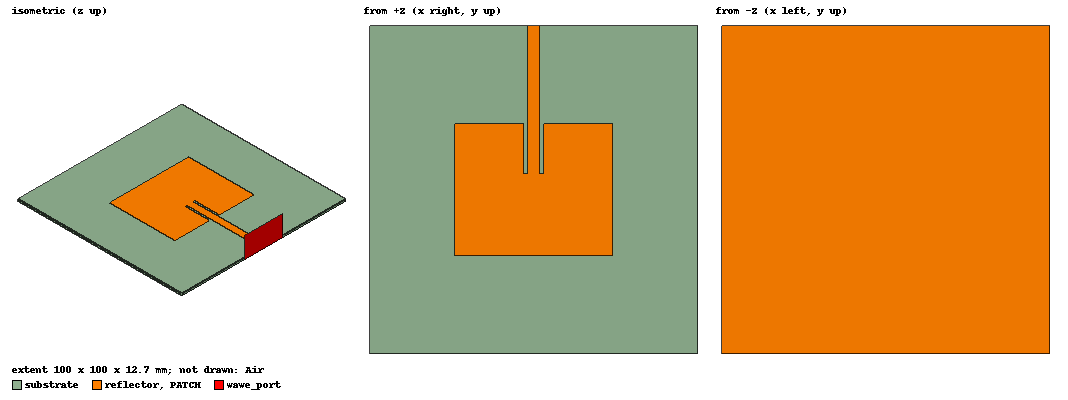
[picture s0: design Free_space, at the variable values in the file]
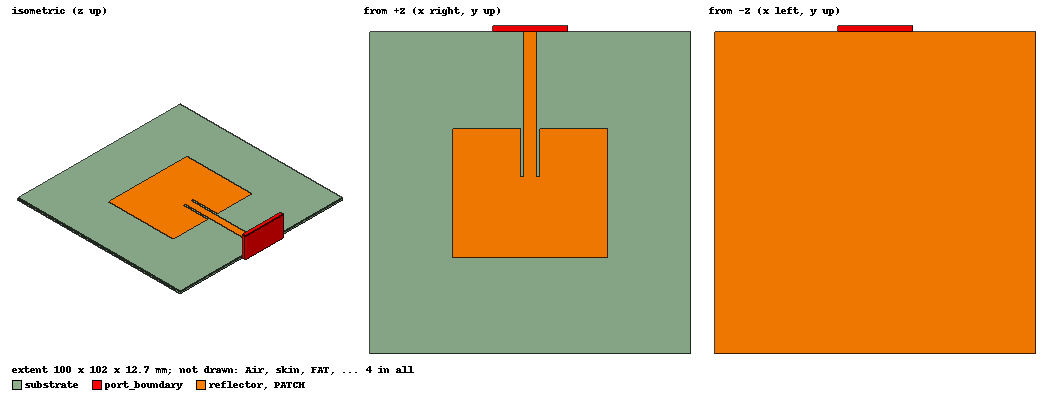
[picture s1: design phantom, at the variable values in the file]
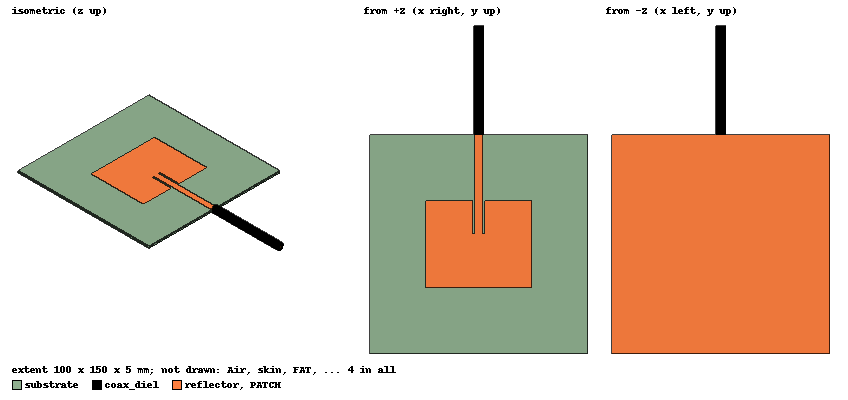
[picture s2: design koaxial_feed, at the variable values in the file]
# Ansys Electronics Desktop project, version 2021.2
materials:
  vacuum: permittivity=1
  Rogers RT/duroid 5880 (tm): permittivity=2.2 dielectric_loss_tangent=0.0009
  pec: conductivity=1e+30
  phantom_skin: permittivity=38 conductivity=1.46
  phantom_fat: permittivity=5.3 permeability=1 conductivity=0.1
  phantom_muscle: permittivity=54.4 conductivity=1.74
  coax_er_2_6: permittivity=2.6 conductivity=1e+30
  coax_er_2_6_repaired: permittivity=2.6

design Free_space (HFSS, DrivenModal, model units mm)
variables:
  sub_w = 100mm
  sub_t = 50mil
  patch_l = 40.001mm
  patch_w = 48.4mm
  notch_w = 1mm
  feed_w = 3.91mm
  notch_l = 15mm
  air_t = 70mm
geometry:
  substrate [Rogers RT/duroid 5880 (tm)] = box(corner=(-sub_w/2, -sub_w/2, 0mm), size=(sub_w, sub_w, -sub_t))
  reflector [Rogers RT/duroid 5880 (tm)] = box(corner=(-sub_w/2, -sub_w/2, -sub_t), size=(sub_w, sub_w, 0mm))
  PATCH [Rogers RT/duroid 5880 (tm)] = box(corner=(-patch_w/2, -patch_l/2, 0mm), size=(patch_w, patch_l, 0))
  NOTCH_GAP = rectangle(corner=((-notch_w*2-feed_w)/2, (patch_l/2)-notch_l, 0mm), x_size=notch_w*2+feed_w, y_size=sub_w/2-(patch_l/2-notch_l))
  NOTCH_FEED = rectangle(corner=(-feed_w/2, (patch_l/2)-notch_l, 0mm), x_size=feed_w, y_size=sub_w/2-(patch_l/2-notch_l))
  PATCH.subtract(NOTCH_GAP)
  PATCH.unite(NOTCH_FEED)
  wawe_port = rectangle(corner=(-3*feed_w, sub_w/2, -sub_t), z_size=10*sub_t, x_size=6*feed_w)
  Air [vacuum] = box(corner=(-sub_w/2, -sub_w/2, 0mm), size=(sub_w, sub_w, air_t))
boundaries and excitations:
  PerfE1: Perfect E Objects=reflector
  PerfE2: Perfect E Objects=PATCH
  Rad1: Radiation Faces=Air.face(+x, +z, -y, -x, +y)
  1: Wave Port Objects=wawe_port NumModes=1 Modes{Mode1{CharImp=Zpi}}
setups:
  Setup1: HfssDriven Frequency=2.45GHz MaxDeltaS=0.02 MaximumPasses=10 MinimumPasses=1 MinimumConvergedPasses=2 PercentRefinement=30 BasisOrder=1 PortAccuracy=2
    sweep Sweep: 2GHz to 3GHz, 101 points; Type=Interpolating InterpTolerance=0.5 InterpMaxSolns=250 InterpUsePortImped=false PassivityErrorTolerance=0.0001
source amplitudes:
  1:1: 1W 0deg
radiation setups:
  Infinite Sphere1: Infinite Sphere Theta=0deg..180deg step 2deg Phi=-180deg..180deg step 2deg
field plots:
  Mag_E1: E Field over substrate.face(+z) on Setup1 : LastAdaptive at Freq=2.45GHz Phase=0deg
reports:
  S Parameter Plot 1: dB(S(1,1)) vs Freq on Setup1 : Sweep; dB(S(1,1)), dB(S(1,1)) vs Freq; markers MX1 at x=2.4467234e+09
  Port Zo Plot 1: re(Zo(1)) vs Freq on Setup1 : Sweep; re(Zo(1)), re(Zo(1)) vs Freq; markers MX1 at x=2.4476844e+09
  Z Parameter Plot 1: re(Z(1,1)) vs Freq on Setup1 : Sweep; re(Z(1,1)), re(Z(1,1)) vs Freq; markers MX1 at x=2.4461806e+09
  Gain Plot 1: GainTotal vs Phi, Theta on Setup1 : LastAdaptive, Infinite Sphere1 [Freq=2.45GHz patch_l=39.3mm]
  Gain Plot 2: dB(GainTotal) vs Phi, Theta on Setup1 : LastAdaptive, Infinite Sphere1 [Freq=2.45GHz patch_l=39.3mm]

design phantom (HFSS, DrivenModal, model units mm)
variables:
  sub_w = 100mm
  sub_t = 50mil
  patch_l = 40.001mm
  patch_w = 48.4mm
  notch_w = 1mm
  feed_w = 3.91mm
  notch_l = 15mm
  air_t = 70mm
  phantom_w = 200mm
  skin_t = 2mm
  fat_t = 10mm
  muscle_t = 28mm
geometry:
  substrate [Rogers RT/duroid 5880 (tm)] = box(corner=(-sub_w/2, -sub_w/2, 0mm), size=(sub_w, sub_w, -sub_t))
  reflector [Rogers RT/duroid 5880 (tm)] = box(corner=(-sub_w/2, -sub_w/2, -sub_t), size=(sub_w, sub_w, 0mm))
  PATCH [Rogers RT/duroid 5880 (tm)] = box(corner=(-patch_w/2, -patch_l/2, 0mm), size=(patch_w, patch_l, 0))
  NOTCH_GAP = rectangle(corner=((-notch_w*2-feed_w)/2, (patch_l/2)-notch_l, 0mm), x_size=notch_w*2+feed_w, y_size=sub_w/2-(patch_l/2-notch_l))
  NOTCH_FEED = rectangle(corner=(-feed_w/2, (patch_l/2)-notch_l, 0mm), x_size=feed_w, y_size=sub_w/2-(patch_l/2-notch_l))
  PATCH.subtract(NOTCH_GAP)
  PATCH.unite(NOTCH_FEED)
  wawe_port = rectangle(corner=(-3*feed_w, sub_w/2, -sub_t), z_size=10*sub_t, x_size=6*feed_w)
  Air [vacuum] = box(corner=(-phantom_w/2, -phantom_w/2, -sub_t), size=(phantom_w, phantom_w, air_t+sub_t))
  PATCH_1 = PATCH.copy()
  reflector_1 = reflector.copy()
  substrate_1 = substrate.copy()
  wawe_port_1 = wawe_port.copy()
  Air.subtract(PATCH_1, reflector_1, substrate_1, wawe_port_1)
  port_boundary [pec] = box(corner=(-3*feed_w, sub_w/2, -sub_t), size=(6*feed_w, 2mm, 10*sub_t))
  wawe_port_2 = wawe_port.copy()
  Air.subtract(wawe_port_2)
  skin [phantom_skin] = box(corner=(-phantom_w/2, -phantom_w/2, -sub_t), size=(phantom_w, phantom_w, -skin_t))
  FAT [phantom_fat] = box(corner=(-phantom_w/2, -phantom_w/2, -sub_t-skin_t), size=(phantom_w, phantom_w, -fat_t))
  Muscle [phantom_muscle] = box(corner=(-phantom_w/2, -phantom_w/2, -sub_t-skin_t-fat_t), size=(phantom_w, phantom_w, -muscle_t))
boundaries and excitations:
  PerfE1: Perfect E Objects=reflector
  PerfE2: Perfect E Objects=PATCH
  Rad2: Radiation Faces=skin.face(-y, +x, +y, -x) Air.face(-y, -x, +y, +x, +z) Muscle.face(-z, -y, -x, +y, +x) FAT.face(+x, +y, -x, -y)
  1: Wave Port Objects=wawe_port NumModes=1 Modes{Mode1{CharImp=Zpi}}
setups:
  Setup1: HfssDriven Frequency=2.45GHz MaxDeltaS=0.02 MaximumPasses=3 MinimumPasses=1 MinimumConvergedPasses=2 PercentRefinement=30 BasisOrder=1 PortAccuracy=2
    sweep Sweep: 2.3GHz to 2.6GHz, 31 points; Type=Interpolating InterpTolerance=0.5 InterpMaxSolns=250 InterpUsePortImped=false PassivityErrorTolerance=0.0001
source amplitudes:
  1:1: 1W 0deg
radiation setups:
  Infinite Sphere1: Infinite Sphere Theta=0deg..180deg step 2deg Phi=-180deg..180deg step 2deg
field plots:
  Mag_E1: E Field over substrate.face(+z) on Setup1 : LastAdaptive at Freq=2.45GHz Phase=0deg
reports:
  S Parameter Plot 1: dB(S(1,1)) vs Freq on Setup1 : Sweep; markers MX1 at x=2.4467234e+09
  Port Zo Plot 1: re(Zo(1)) vs Freq on Setup1 : Sweep
  Z Parameter Plot 1: re(Z(1,1)) vs Freq on Setup1 : Sweep
  Gain Plot 1: GainTotal vs Phi, Theta on Setup1 : LastAdaptive, Infinite Sphere1 [Freq=2.45GHz]
  Gain Plot 2: dB(GainTotal) vs Phi, Theta on Setup1 : LastAdaptive, Infinite Sphere1 [Freq=2.45GHz]

design koaxial_feed (HFSS, DrivenModal, model units mm)
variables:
  sub_w = 100mm
  sub_t = 50mil
  patch_l = 40.001mm
  patch_w = 48.4mm
  notch_w = 1mm
  feed_w = 3.91mm
  notch_l = 15mm
  air_t = 70mm
  phantom_w = 200mm
  skin_t = 2mm
  fat_t = 10mm
  muscle_t = 28mm
  d_coax_signal = 1.3mm
  d_coax_diel = 5mm
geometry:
  substrate [Rogers RT/duroid 5880 (tm)] = box(corner=(-sub_w/2, -sub_w/2, 0mm), size=(sub_w, sub_w, -sub_t))
  reflector [Rogers RT/duroid 5880 (tm)] = box(corner=(-sub_w/2, -sub_w/2, -sub_t), size=(sub_w, sub_w, 0mm))
  PATCH [Rogers RT/duroid 5880 (tm)] = box(corner=(-patch_w/2, -patch_l/2, 0mm), size=(patch_w, patch_l, 0))
  NOTCH_GAP = rectangle(corner=((-notch_w*2-feed_w)/2, (patch_l/2)-notch_l, 0mm), x_size=notch_w*2+feed_w, y_size=sub_w/2-(patch_l/2-notch_l))
  NOTCH_FEED = rectangle(corner=(-feed_w/2, (patch_l/2)-notch_l, 0mm), x_size=feed_w, y_size=sub_w/2-(patch_l/2-notch_l))
  PATCH.subtract(NOTCH_GAP)
  PATCH.unite(NOTCH_FEED)
  wawe_port = rectangle(corner=(-3*feed_w, sub_w/2, -sub_t), z_size=10*sub_t, x_size=6*feed_w)
  Air [vacuum] = box(corner=(-phantom_w/2, -phantom_w/2, -sub_t), size=(phantom_w, phantom_w, air_t+sub_t))
  PATCH_1 = PATCH.copy()
  reflector_1 = reflector.copy()
  substrate_1 = substrate.copy()
  wawe_port_1 = wawe_port.copy()
  Air.subtract(PATCH_1, reflector_1, substrate_1, wawe_port_1)
  wawe_port_2 = wawe_port.copy()
  wawe_port.delete()
  Air.subtract(wawe_port_2)
  skin [phantom_skin] = box(corner=(-phantom_w/2, -phantom_w/2, -sub_t), size=(phantom_w, phantom_w, -skin_t))
  FAT [phantom_fat] = box(corner=(-phantom_w/2, -phantom_w/2, -sub_t-skin_t), size=(phantom_w, phantom_w, -fat_t))
  Muscle [phantom_muscle] = box(corner=(-phantom_w/2, -phantom_w/2, -sub_t-skin_t-fat_t), size=(phantom_w, phantom_w, -muscle_t))
  Coax_signal [pec] = cylinder(axis=Y, base_centre=(0mm, sub_w/2, 0), radius=d_coax_signal/2, height=-(sub_w/2-phantom_w/2))
  coax_diel [coax_er_2_6_repaired] = cylinder(axis=Y, base_centre=(0mm, sub_w/2, 0), radius=d_coax_diel/2, height=-(sub_w/2-phantom_w/2))
  Coax_signal_1 = Coax_signal.copy()
  coax_diel.subtract(Coax_signal_1)
  coax_diel_1 = coax_diel.copy()
  Coax_signal_2 = Coax_signal.copy()
  Air.subtract(coax_diel_1, Coax_signal_2)
  coax_diel_2 = coax_diel.copy()
  Coax_signal_3 = Coax_signal.copy()
  FAT.subtract(coax_diel_2, Coax_signal_3)
  coax_diel_3 = coax_diel.copy()
  Coax_signal_4 = Coax_signal.copy()
  Muscle.subtract(coax_diel_3, Coax_signal_4)
  coax_diel_4 = coax_diel.copy()
  Coax_signal_5 = Coax_signal.copy()
  PATCH.subtract(coax_diel_4, Coax_signal_5)
  coax_diel_5 = coax_diel.copy()
  Coax_signal_6 = Coax_signal.copy()
  reflector.subtract(coax_diel_5, Coax_signal_6)
  coax_diel_6 = coax_diel.copy()
  Coax_signal_7 = Coax_signal.copy()
  skin.subtract(coax_diel_6, Coax_signal_7)
  coax_diel_7 = coax_diel.copy()
  Coax_signal_8 = Coax_signal.copy()
  substrate.subtract(coax_diel_7, Coax_signal_8)
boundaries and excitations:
  PerfE1: Perfect E Objects=reflector
  PerfE2: Perfect E Objects=PATCH
  Rad2: Radiation Faces=Air.face(at (0, 100, 34.365), -y, -x, +x, +z) skin.face(-y, +x, +y, -x) Muscle.face(-z, -y, -x, +y, +x) FAT.face(+x, +y, -x, -y)
  PerfE3: Perfect E Faces=coax_diel.face(1 of 3)
  1: Wave Port Faces=coax_diel.face(3 of 3) NumModes=1 Modes{Mode1{IntLine{coax_diel.edge(at (0, 100, -0.65)) at 0.25 along -> coax_diel.edge(2 of 2) at -0.25 along} CharImp=Zpi}}
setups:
  Setup1: HfssDriven Frequency=2.45GHz MaxDeltaS=0.02 MaximumPasses=3 MinimumPasses=1 MinimumConvergedPasses=2 PercentRefinement=30 BasisOrder=1 PortAccuracy=2
    sweep Sweep: 2.3GHz to 2.6GHz, 31 points; Type=Interpolating InterpTolerance=0.5 InterpMaxSolns=250 InterpUsePortImped=false PassivityErrorTolerance=0.0001
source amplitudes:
  1:1: 1W 0deg
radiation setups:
  Infinite Sphere1: Infinite Sphere Theta=0deg..180deg step 2deg Phi=-180deg..180deg step 2deg
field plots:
  Mag_E1: E Field over substrate.face(+z) on Setup1 : LastAdaptive at Freq=2.45GHz Phase=0deg
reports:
  S Parameter Plot 1: dB(S(1,1)) vs Freq on Setup1 : Sweep; markers MX1 at x=2.4467234e+09
  Port Zo Plot 1: re(Zo(1)) vs Freq on Setup1 : Sweep
  Z Parameter Plot 1: re(Z(1,1)) vs Freq on Setup1 : Sweep
  Gain Plot 1: GainTotal vs Phi, Theta on Setup1 : LastAdaptive, Infinite Sphere1 [Freq=2.45GHz]
  Gain Plot 2: dB(GainTotal) vs Phi, Theta on Setup1 : LastAdaptive, Infinite Sphere1 [Freq=2.45GHz]
